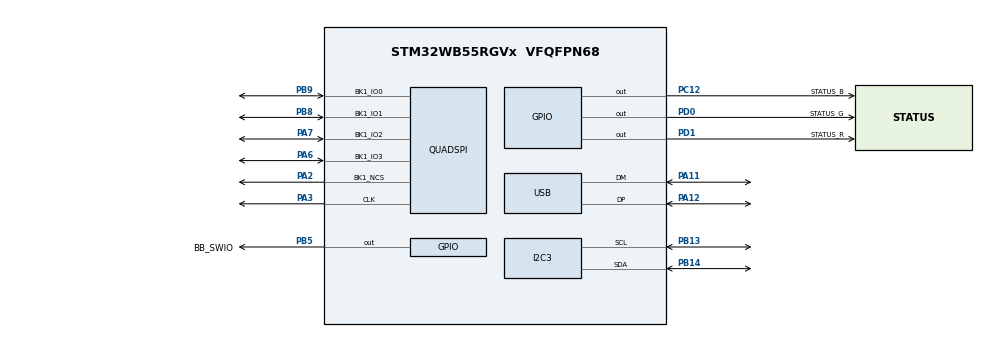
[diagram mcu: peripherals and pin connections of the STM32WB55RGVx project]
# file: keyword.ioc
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I2C3.Timing=0x10B17DB5
Mcu.Family=STM32WB
Mcu.Name=STM32WB55RGVx
Mcu.Package=VFQFPN68
NVIC.PriorityGroup=NVIC_PRIORITYGROUP_4
OSC_IN.Mode=HSE-External-Oscillator
OSC_IN.Signal=RCC_OSC_IN
OSC_OUT.Mode=HSE-External-Oscillator
OSC_OUT.Signal=RCC_OSC_OUT
PA11.Mode=Device
PA11.Signal=USB_DM
PA12.Mode=Device
PA12.Signal=USB_DP
PA13.Mode=Serial_Wire
PA13.Signal=SYS_JTMS-SWDIO
PA14.Mode=Serial_Wire
PA14.Signal=SYS_JTCK-SWCLK
PA2.Mode=Single Bank 1
PA2.Signal=QUADSPI_BK1_NCS
PA3.Mode=Single Bank 1
PA3.Signal=QUADSPI_CLK
PA6.Mode=Single Bank 1
PA6.Signal=QUADSPI_BK1_IO3
PA7.Mode=Single Bank 1
PA7.Signal=QUADSPI_BK1_IO2
PB13.Mode=I2C
PB13.Signal=I2C3_SCL
PB14.Mode=I2C
PB14.Signal=I2C3_SDA
PB5.GPIO_Label=BB_SWIO
PB5.Signal=GPIO_Output
PB8.Mode=Single Bank 1
PB8.Signal=QUADSPI_BK1_IO1
PB9.Mode=Single Bank 1
PB9.Signal=QUADSPI_BK1_IO0
PC12.GPIO_Label=STATUS_B
PC12.Signal=GPIO_Output
PC14-OSC32_IN.Mode=LSE-External-Oscillator
PC14-OSC32_IN.Signal=RCC_OSC32_IN
PC15-OSC32_OUT.Mode=LSE-External-Oscillator
PC15-OSC32_OUT.Signal=RCC_OSC32_OUT
PD0.GPIO_Label=STATUS_G
PD0.Signal=GPIO_Output
PD1.GPIO_Label=STATUS_R
PD1.Signal=GPIO_Output
ProjectManager.HeapSize=0x200
ProjectManager.StackSize=0x1000
ProjectManager.TargetToolchain=Makefile
RCC.ADCFreq_Value=48000000
RCC.AHB2CLKDivider=RCC_SYSCLK_DIV2
RCC.AHBFreq_Value=64000000
RCC.APB1Freq_Value=64000000
RCC.APB1TimFreq_Value=64000000
RCC.APB2Freq_Value=64000000
RCC.APB2TimFreq_Value=64000000
RCC.APB3Freq_Value=16000000
RCC.Cortex2_Div=SYSTICK_CLKSOURCE_HCLK_DIV8
RCC.CortexFreq_Value=64000000
RCC.HCLKFreq_Value=64000000
RCC.HSE_VALUE=32000000
RCC.HSI48_VALUE=48000000
RCC.HSI_VALUE=16000000
RCC.PLLN=32
RCC.PLLSAI1N=24
RCC.SYSCLKFreq_VALUE=64000000
RCC.SYSCLKSource=RCC_SYSCLKSOURCE_PLLCLK
RCC.USBFreq_Value=48000000
RCC.VCOOutputFreq_Value=128000000
RF1.Mode=RF1_Activate
RF1.Signal=RF_RF1
VP_MEMORYMAP_VS_MEMORYMAP.Mode=CurAppReg
board=custom

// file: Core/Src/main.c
/* USER CODE BEGIN Header */
/**
  ******************************************************************************
  * @file           : main.c
  * @brief          : Main program body
  ******************************************************************************
  * @attention
  *
  * Copyright (c) 2026 STMicroelectronics.
  * All rights reserved.
  *
  * This software is licensed under terms that can be found in the LICENSE file
  * in the root directory of this software component.
  * If no LICENSE file comes with this software, it is provided AS-IS.
  *
  ******************************************************************************
  */
/* USER CODE END Header */
#include "main.h"

/* USER CODE BEGIN Includes */
#include "app_entry.h"
#include "usb_device.h"
#include "ch32v003_swio.h"
#include "keybit_image.h"
#include "keybit_bus.h"
#include "proto.h"

/* USER CODE END Includes */

/* USER CODE BEGIN PD */
/* U14 (XL-1608RGBC) is common anode to +3.3V, so a pin driven LOW lights its colour. */
#define LED_STEP_MS 500
#define KEYBIT_POLL_MS 250
#define KEYBIT_SCAN_MS 250
#define KEYBIT_KEYS_MS 5

/* USER CODE END PD */

I2C_HandleTypeDef hi2c3;

QSPI_HandleTypeDef hqspi;

PCD_HandleTypeDef hpcd_USB_FS;

/* USER CODE BEGIN PV */
static ch32_swio_t keybit_swio;
/* Keybits touching the keyword's sides: the list is rebuilt every
 * KEYBIT_SCAN_MS, key_down refreshed every KEYBIT_KEYS_MS. keybit_changed
 * collects bits of entries whose key_down changed; whoever consumes key
 * events clears the bits it has handled. */
keybit_info_t keybits[KEYBIT_MAX];
int keybit_count;
volatile uint32_t keybit_changed;
/* Keybits further out, from events relayed by their neighbours. */
keybit_remote_t keybit_remotes[KEYBIT_REMOTE_MAX];
int keybit_remote_count;

/* USER CODE END PV */

void SystemClock_Config(void);
void PeriphCommonClock_Config(void);
static void MX_GPIO_Init(void);
static void MX_I2C3_Init(void);
static void MX_USB_PCD_Init(void);
static void MX_QUADSPI_Init(void);
static void MX_RF_Init(void);
/* USER CODE BEGIN PFP */
static void LED_Set(uint8_t r, uint8_t g, uint8_t b);

/* USER CODE END PFP */

/* USER CODE BEGIN 0 */
static void LED_Set(uint8_t r, uint8_t g, uint8_t b)
{
  HAL_GPIO_WritePin(STATUS_R_GPIO_Port, STATUS_R_Pin, r ? GPIO_PIN_RESET : GPIO_PIN_SET);
  HAL_GPIO_WritePin(STATUS_G_GPIO_Port, STATUS_G_Pin, g ? GPIO_PIN_RESET : GPIO_PIN_SET);
  HAL_GPIO_WritePin(STATUS_B_GPIO_Port, STATUS_B_Pin, b ? GPIO_PIN_RESET : GPIO_PIN_SET);
}

/* Status LED, highest priority first:
 *   red    Keybit on the dock failed to flash (until it's taken off)
 *   red    blinking: SDA held low, a Keybit is on backwards (bus paused)
 *   white  blinking: a Keybit just connected on a side
 *   blue   Keybit on the dock (flashed or up to date)
 *   green  idle */
static uint8_t dock_present, dock_failed, bus_held;
static uint32_t white_until;

#define WHITE_BLINK_MS 1200
#define BUS_HELD_MS 100

static void LED_Update(void)
{
  uint32_t now = HAL_GetTick();
  if (dock_failed) LED_Set(1, 0, 0);
  else if (bus_held) LED_Set(((now / 250) & 1) == 0, 0, 0);
  else if ((int32_t)(white_until - now) > 0) {
    uint8_t on = ((now / 100) & 1) == 0;
    LED_Set(on, on, on);
  }
  else if (dock_present) LED_Set(0, 0, 1);
  else LED_Set(0, 1, 0);
}

/* Keybit programming dock: CN7/CN8/CN9 on the keyword's back are 3V3, SWIO
 * and GND, lined up with a Keybit's TP1/TP2/TP4. Poll for a Keybit there
 * and flash keybit_image onto it once each time one is placed. */
static void Keybit_Dock_Poll(void)
{
  static uint32_t last_poll;
  static uint8_t misses;

  if (HAL_GetTick() - last_poll < KEYBIT_POLL_MS) return;
  last_poll = HAL_GetTick();

  if (ch32_detect(&keybit_swio) != CH32_OK) {
    /* A few misses in a row before calling it gone, so a wobble while
     * seating it doesn't trigger a second flash. */
    if (dock_present && ++misses >= 3) {
      dock_present = 0;
      dock_failed = 0;
    }
    return;
  }
  misses = 0;
  if (dock_present) return;
  dock_present = 1;
  LED_Update();      /* blue while flashing */

  HAL_Delay(50);     /* let it finish powering up off CN7 */
  ch32_status_t r = ch32_halt(&keybit_swio, 1);
  if (r == CH32_OK && ch32_verify(&keybit_swio, CH32_FLASH_BASE, keybit_image, keybit_image_len) == CH32_OK) {
    ch32_reboot(&keybit_swio);  /* already up to date */
    return;
  }
  dock_failed = ch32_program(&keybit_swio, keybit_image, keybit_image_len) != CH32_OK;
}

/* Hand addresses to new Keybits, then refresh the list of who is there. */
static void Keybit_Bus_Poll(void)
{
  static uint32_t last_scan, last_keys, held_since;

  /* A backwards Keybit holds SDA low; tell the host once it has lasted
   * BUS_HELD_MS and once it clears, and leave the bus alone meanwhile. */
  uint32_t now = HAL_GetTick();
  if (!keybit_bus_held()) {
    held_since = now;
    if (bus_held) {
      bus_held = 0;
      PROTO_Send("OK BUS clear");
    }
  } else if (!bus_held && now - held_since >= BUS_HELD_MS) {
    bus_held = 1;
    PROTO_Send("ERR bus SDA held low, a Keybit on the Keyword may be turned the wrong way");
  }
  if (keybit_bus_jammed()) return;
  if (HAL_GetTick() - last_keys >= KEYBIT_KEYS_MS) {
    last_keys = HAL_GetTick();
    keybit_changed |= keybit_bus_poll_keys(&hi2c3, keybits, keybit_count);
    keybit_bus_poll_relay(&hi2c3, keybits, keybit_count, keybit_remotes, &keybit_remote_count);
  }
  if (HAL_GetTick() - last_scan < KEYBIT_SCAN_MS) return;
  last_scan = HAL_GetTick();

  int fresh = keybit_bus_assign(&hi2c3);
  int before = keybit_count;
  keybit_count = keybit_bus_scan(&hi2c3, keybits, KEYBIT_MAX);
  if (fresh > 0 || keybit_count > before) white_until = HAL_GetTick() + WHITE_BLINK_MS;
}

/* USER CODE END 0 */

int main(void)
{

  /* MCU Configuration--------------------------------------------------------*/

  /* Reset of all peripherals, Initializes the Flash interface and the Systick. */
  HAL_Init();

  /* USER CODE BEGIN Init */
  MX_APPE_Config();   /* STM32_WPAN: IPCC/backup reset and HSE trim, before the clocks start */
  /* USER CODE END Init */

  /* Configure the system clock */
  SystemClock_Config();

  /* Configure the peripherals common clocks */
  PeriphCommonClock_Config();

  /* Initialize all configured peripherals */
  MX_GPIO_Init();
  MX_I2C3_Init();
  MX_USB_PCD_Init();
  MX_QUADSPI_Init();
  MX_RF_Init();
  /* USER CODE BEGIN 2 */

  ch32_init(&keybit_swio, BB_SWIO_GPIO_Port, BB_SWIO_Pin);
  LED_Set(0, 1, 0); // greeen

  /* USER CODE END 2 */

  /* Infinite loop */
  /* USER CODE BEGIN WHILE */
  while (1)
  {
    MX_APPE_Process();  /* STM32_WPAN sequencer: BLE events, keymap, NUS */
    /* USER CODE END WHILE */

    /* USER CODE BEGIN 3 */
    Keybit_Dock_Poll();
    Keybit_Bus_Poll();
    LED_Update();

  }
  /* USER CODE END 3 */
}

void SystemClock_Config(void)
{
  RCC_OscInitTypeDef RCC_OscInitStruct = {0};
  RCC_ClkInitTypeDef RCC_ClkInitStruct = {0};

  /** Configure LSE Drive Capability
  */
  HAL_PWR_EnableBkUpAccess();
  __HAL_RCC_LSEDRIVE_CONFIG(RCC_LSEDRIVE_MEDIUMHIGH);

  /** Configure the main internal regulator output voltage
  */
  __HAL_PWR_VOLTAGESCALING_CONFIG(PWR_REGULATOR_VOLTAGE_SCALE1);

  /** Initializes the RCC Oscillators according to the specified parameters
  * in the RCC_OscInitTypeDef structure.
  */
  RCC_OscInitStruct.OscillatorType = RCC_OSCILLATORTYPE_HSI|RCC_OSCILLATORTYPE_HSE
                              |RCC_OSCILLATORTYPE_LSE|RCC_OSCILLATORTYPE_MSI;
  RCC_OscInitStruct.HSEState = RCC_HSE_ON;
  RCC_OscInitStruct.LSEState = RCC_LSE_ON;
  RCC_OscInitStruct.HSIState = RCC_HSI_ON;
  RCC_OscInitStruct.MSIState = RCC_MSI_ON;
  RCC_OscInitStruct.HSICalibrationValue = RCC_HSICALIBRATION_DEFAULT;
  RCC_OscInitStruct.MSICalibrationValue = RCC_MSICALIBRATION_DEFAULT;
  RCC_OscInitStruct.MSIClockRange = RCC_MSIRANGE_6;
  RCC_OscInitStruct.PLL.PLLState = RCC_PLL_ON;
  RCC_OscInitStruct.PLL.PLLSource = RCC_PLLSOURCE_MSI;
  RCC_OscInitStruct.PLL.PLLM = RCC_PLLM_DIV1;
  RCC_OscInitStruct.PLL.PLLN = 32;
  RCC_OscInitStruct.PLL.PLLP = RCC_PLLP_DIV2;
  RCC_OscInitStruct.PLL.PLLR = RCC_PLLR_DIV2;
  RCC_OscInitStruct.PLL.PLLQ = RCC_PLLQ_DIV2;
  if (HAL_RCC_OscConfig(&RCC_OscInitStruct) != HAL_OK)
  {
    Error_Handler();
  }

  /** Configure the SYSCLKSource, HCLK, PCLK1 and PCLK2 clocks dividers
  */
  RCC_ClkInitStruct.ClockType = RCC_CLOCKTYPE_HCLK4|RCC_CLOCKTYPE_HCLK2
                              |RCC_CLOCKTYPE_HCLK|RCC_CLOCKTYPE_SYSCLK
                              |RCC_CLOCKTYPE_PCLK1|RCC_CLOCKTYPE_PCLK2;
  RCC_ClkInitStruct.SYSCLKSource = RCC_SYSCLKSOURCE_PLLCLK;
  RCC_ClkInitStruct.AHBCLKDivider = RCC_SYSCLK_DIV1;
  RCC_ClkInitStruct.APB1CLKDivider = RCC_HCLK_DIV1;
  RCC_ClkInitStruct.APB2CLKDivider = RCC_HCLK_DIV1;
  RCC_ClkInitStruct.AHBCLK2Divider = RCC_SYSCLK_DIV2;
  RCC_ClkInitStruct.AHBCLK4Divider = RCC_SYSCLK_DIV1;

  if (HAL_RCC_ClockConfig(&RCC_ClkInitStruct, FLASH_LATENCY_3) != HAL_OK)
  {
    Error_Handler();
  }

  /** Enable MSI Auto calibration
  */
  HAL_RCCEx_EnableMSIPLLMode();
}

void PeriphCommonClock_Config(void)
{
  RCC_PeriphCLKInitTypeDef PeriphClkInitStruct = {0};

  /** Initializes the peripherals clock
  */
  PeriphClkInitStruct.PeriphClockSelection = RCC_PERIPHCLK_SMPS|RCC_PERIPHCLK_RFWAKEUP;
  PeriphClkInitStruct.RFWakeUpClockSelection = RCC_RFWKPCLKSOURCE_HSE_DIV1024;
  PeriphClkInitStruct.SmpsClockSelection = RCC_SMPSCLKSOURCE_HSI;
  PeriphClkInitStruct.SmpsDivSelection = RCC_SMPSCLKDIV_RANGE1;

  if (HAL_RCCEx_PeriphCLKConfig(&PeriphClkInitStruct) != HAL_OK)
  {
    Error_Handler();
  }
}

static void MX_I2C3_Init(void)
{

  hi2c3.Instance = I2C3;
  hi2c3.Init.Timing = 0x10B17DB5;
  hi2c3.Init.OwnAddress1 = 0;
  hi2c3.Init.AddressingMode = I2C_ADDRESSINGMODE_7BIT;
  hi2c3.Init.DualAddressMode = I2C_DUALADDRESS_DISABLE;
  hi2c3.Init.OwnAddress2 = 0;
  hi2c3.Init.OwnAddress2Masks = I2C_OA2_NOMASK;
  hi2c3.Init.GeneralCallMode = I2C_GENERALCALL_DISABLE;
  hi2c3.Init.NoStretchMode = I2C_NOSTRETCH_DISABLE;
  if (HAL_I2C_Init(&hi2c3) != HAL_OK)
  {
    Error_Handler();
  }

  /** Configure Analogue filter
  */
  if (HAL_I2CEx_ConfigAnalogFilter(&hi2c3, I2C_ANALOGFILTER_ENABLE) != HAL_OK)
  {
    Error_Handler();
  }

  /** Configure Digital filter
  */
  if (HAL_I2CEx_ConfigDigitalFilter(&hi2c3, 0) != HAL_OK)
  {
    Error_Handler();
  }

}

static void MX_QUADSPI_Init(void)
{

  /* QUADSPI parameter configuration*/
  hqspi.Instance = QUADSPI;
  hqspi.Init.ClockPrescaler = 255;
  hqspi.Init.FifoThreshold = 1;
  hqspi.Init.SampleShifting = QSPI_SAMPLE_SHIFTING_NONE;
  hqspi.Init.FlashSize = 1;
  hqspi.Init.ChipSelectHighTime = QSPI_CS_HIGH_TIME_1_CYCLE;
  hqspi.Init.ClockMode = QSPI_CLOCK_MODE_0;
  if (HAL_QSPI_Init(&hqspi) != HAL_OK)
  {
    Error_Handler();
  }

}

static void MX_RF_Init(void)
{

  /* USER CODE BEGIN RF_Init 2 */
  MX_APPE_Init();     /* STM32_WPAN: RTC timer server, transport layer, boots CPU2 */
  MX_USB_Device_Init(); /* USB CDC serial for the config protocol */
  /* USER CODE END RF_Init 2 */

}

static void MX_USB_PCD_Init(void)
{

  hpcd_USB_FS.Instance = USB;
  hpcd_USB_FS.Init.dev_endpoints = 8;
  hpcd_USB_FS.Init.speed = PCD_SPEED_FULL;
  hpcd_USB_FS.Init.phy_itface = PCD_PHY_EMBEDDED;
  hpcd_USB_FS.Init.Sof_enable = DISABLE;
  hpcd_USB_FS.Init.low_power_enable = DISABLE;
  hpcd_USB_FS.Init.lpm_enable = DISABLE;
  hpcd_USB_FS.Init.battery_charging_enable = DISABLE;
  if (HAL_PCD_Init(&hpcd_USB_FS) != HAL_OK)
  {
    Error_Handler();
  }

}

static void MX_GPIO_Init(void)
{
  GPIO_InitTypeDef GPIO_InitStruct = {0};

  /* GPIO Ports Clock Enable */
  __HAL_RCC_GPIOC_CLK_ENABLE();
  __HAL_RCC_GPIOB_CLK_ENABLE();
  __HAL_RCC_GPIOA_CLK_ENABLE();
  __HAL_RCC_GPIOD_CLK_ENABLE();

  /*Configure GPIO pin Output Level */
  HAL_GPIO_WritePin(STATUS_B_GPIO_Port, STATUS_B_Pin, GPIO_PIN_RESET);

  /*Configure GPIO pin Output Level */
  HAL_GPIO_WritePin(GPIOD, STATUS_G_Pin|STATUS_R_Pin, GPIO_PIN_RESET);

  /*Configure GPIO pin Output Level */
  HAL_GPIO_WritePin(BB_SWIO_GPIO_Port, BB_SWIO_Pin, GPIO_PIN_RESET);

  /*Configure GPIO pin : STATUS_B_Pin */
  GPIO_InitStruct.Pin = STATUS_B_Pin;
  GPIO_InitStruct.Mode = GPIO_MODE_OUTPUT_PP;
  GPIO_InitStruct.Pull = GPIO_NOPULL;
  GPIO_InitStruct.Speed = GPIO_SPEED_FREQ_LOW;
  HAL_GPIO_Init(STATUS_B_GPIO_Port, &GPIO_InitStruct);

  /*Configure GPIO pins : STATUS_G_Pin STATUS_R_Pin */
  GPIO_InitStruct.Pin = STATUS_G_Pin|STATUS_R_Pin;
  GPIO_InitStruct.Mode = GPIO_MODE_OUTPUT_PP;
  GPIO_InitStruct.Pull = GPIO_NOPULL;
  GPIO_InitStruct.Speed = GPIO_SPEED_FREQ_LOW;
  HAL_GPIO_Init(GPIOD, &GPIO_InitStruct);

  /*Configure GPIO pin : BB_SWIO_Pin */
  GPIO_InitStruct.Pin = BB_SWIO_Pin;
  GPIO_InitStruct.Mode = GPIO_MODE_OUTPUT_PP;
  GPIO_InitStruct.Pull = GPIO_NOPULL;
  GPIO_InitStruct.Speed = GPIO_SPEED_FREQ_LOW;
  HAL_GPIO_Init(BB_SWIO_GPIO_Port, &GPIO_InitStruct);

}

void Error_Handler(void)
{
  /* USER CODE BEGIN Error_Handler_Debug */
  /* User can add his own implementation to report the HAL error return state */
  /* Fast red blink so a failed init (e.g. a crystal not starting) is visible. */
  __disable_irq();
  __HAL_RCC_GPIOC_CLK_ENABLE();
  __HAL_RCC_GPIOD_CLK_ENABLE();
  GPIO_InitTypeDef GPIO_InitStruct = {0};
  GPIO_InitStruct.Mode = GPIO_MODE_OUTPUT_PP;
  GPIO_InitStruct.Pull = GPIO_NOPULL;
  GPIO_InitStruct.Speed = GPIO_SPEED_FREQ_LOW;
  GPIO_InitStruct.Pin = STATUS_B_Pin;
  HAL_GPIO_Init(STATUS_B_GPIO_Port, &GPIO_InitStruct);
  GPIO_InitStruct.Pin = STATUS_G_Pin | STATUS_R_Pin;
  HAL_GPIO_Init(GPIOD, &GPIO_InitStruct);
  LED_Set(0, 0, 0);
  while (1)
  {
    HAL_GPIO_TogglePin(STATUS_R_GPIO_Port, STATUS_R_Pin);
    for (volatile uint32_t i = 0; i < 200000; i++)
    {
    }
  }
  /* USER CODE END Error_Handler_Debug */
}
